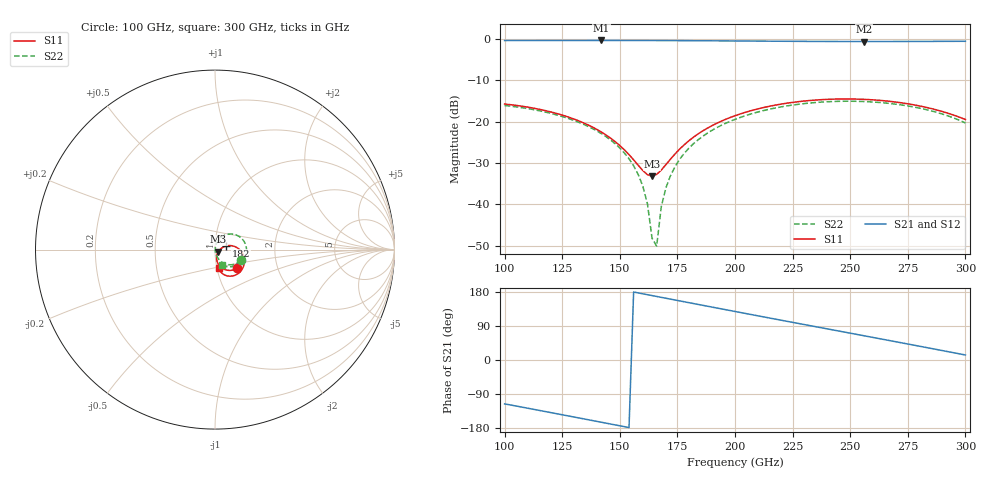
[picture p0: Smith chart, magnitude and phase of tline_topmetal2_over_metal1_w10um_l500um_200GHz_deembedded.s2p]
! Created with skrf 2.0.1 (http://scikit-rf.org).
# GHz S DB R 50.0
!freq dBS11 angS11 dBS21 angS21 dBS12 angS12 dBS22 angS22
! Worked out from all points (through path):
!   101 points, 100 GHz to 300 GHz, reference 50 ohm
!   highest |S21| = -0.46 dB at 142 GHz (marker M1); lowest = -0.7 dB at 256 GHz (marker M2)
!   group delay of S21, straight-line fit = 3.21 ps
!   lowest |S11| = -33.2 dB at 164 GHz (marker M3), VSWR 1.04, Z = 51.9 - j1.16 ohm
!   |S11| at or under -10 dB: start of sweep to end of sweep
!   |S22| runs from -50.1 to -15.1 dB; largest |S21 - S12| = 1.6e-13
!   S11 on the Smith chart (normalised r, x): 100 GHz: 1.25, -0.27; 182 GHz: 1.13, +0.05; 300 GHz: 1.02, -0.21
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100  -15.79 -39.7  -0.48 -115.7  -0.48 -115.7  -16.15 -22.3
116  -17.17 -56.6  -0.47 -134.1  -0.47 -134.1  -17.52 -38.1
134  -20.27 -73.5  -0.46 -155.0  -0.46 -155.0  -20.61 -56.2
142  -22.54 -78.8  -0.46 -164.3  -0.46 -164.3  -22.92 -64.2
152  -26.84 -78.7  -0.46 -176.0  -0.46 -176.0  -27.59 -73.8
158  -30.55 -66.8  -0.47 177.0  -0.47 177.0  -32.79 -78.6
160  -31.83 -58.0  -0.47 174.7  -0.47 174.7  -35.61 -79.4
162  -32.82 -45.6  -0.47 172.3  -0.47 172.3  -39.83 -78.4
164  -33.18 -30.6  -0.47 170.0  -0.47 170.0  -48.15 -67.4
166  -32.75 -15.7  -0.48 167.7  -0.48 167.7  -50.05 62.8
168  -31.71 -3.6  -0.48 165.3  -0.48 165.3  -40.55 78.6
170  -30.40 5.1  -0.49 163.0  -0.49 163.0  -36.02 80.0
174  -27.80 14.5  -0.49 158.3  -0.49 158.3  -30.85 78.0
182  -23.77 18.1  -0.52 149.0  -0.52 149.0  -25.35 70.8
190  -21.00 14.6  -0.54 139.7  -0.54 139.7  -22.13 62.6
200  -18.60 6.9  -0.58 128.1  -0.58 128.1  -19.48 52.1
218  -16.00 -10.0  -0.64 107.3  -0.64 107.3  -16.68 32.7
234  -14.86 -25.8  -0.69 89.0  -0.69 89.0  -15.46 15.3
256  -14.66 -47.1  -0.71 64.0  -0.71 64.0  -15.19 -9.4
268  -15.19 -58.1  -0.71 50.2  -0.71 50.2  -15.70 -23.4
284  -16.72 -70.9  -0.68 31.8  -0.68 31.8  -17.27 -43.2
300  -19.51 -78.7  -0.66 13.2  -0.66 13.2  -20.36 -65.8
